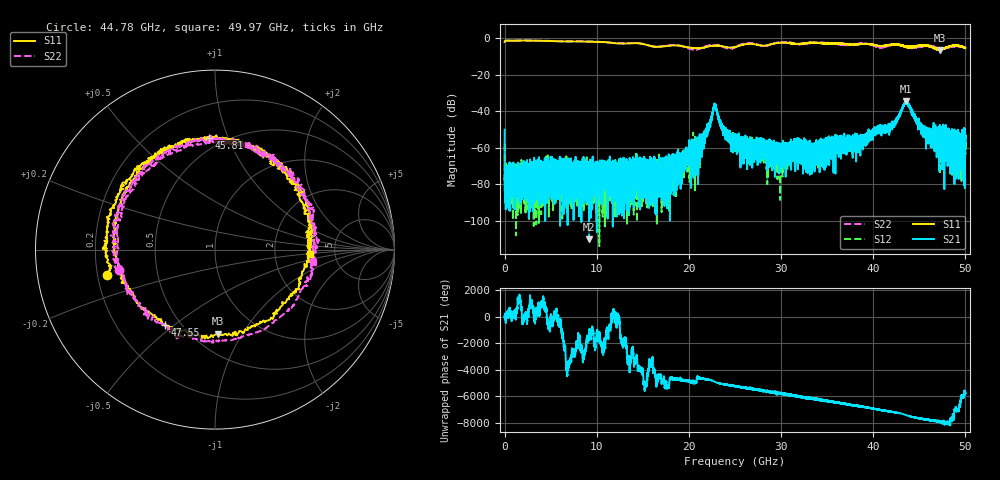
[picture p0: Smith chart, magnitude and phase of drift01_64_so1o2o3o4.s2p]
!Created with skrf (http://scikit-rf.org).
# Hz S RI R 50.0
!freq ReS11 ImS11 ReS21 ImS21 ReS12 ImS12 ReS22 ImS22
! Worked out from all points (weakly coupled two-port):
!   10001 points, 300 kHz to 50 GHz, reference 50 ohm
!   highest |S21| = -34.62 dB at 43.59 GHz (marker M1); lowest = -110.3 dB at 9.16 GHz (marker M2)
!   lowest |S11| = -6.6 dB at 47.28 GHz (marker M3), VSWR 2.77, Z = 32.9 - j39.6 ohm
!   |S11| at or under -10 dB: nowhere
!   |S22| runs from -6.4 to -1.4 dB; largest |S21 - S12| = 0.0046
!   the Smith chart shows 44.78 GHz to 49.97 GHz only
!   S11 on the Smith chart (normalised r, x): 44.78 GHz: 0.24, -0.11; 45.81 GHz: 0.42, +0.86; 47.55 GHz: 0.41, -0.46; 49.97 GHz: 3.23, -0.21
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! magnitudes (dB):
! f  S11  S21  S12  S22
! 300 kHz  -2.2  -50.2  -57.8  -2.1
! 260.3 MHz  -1.4  -72.1  -83.2  -1.4
! 8.335 GHz  -1.9  -100.9  -74.6  -1.8
! 9.16 GHz  -2.0  -110.3  -70.4  -1.9
! 16.67 GHz  -4.8  -77.2  -78.6  -4.8
! 20.8 GHz  -5.7  -57.0  -58.8  -6.3
! 21.96 GHz  -4.8  -48.2  -51.7  -4.4
! 22.81 GHz  -4.3  -36.7  -36.2  -4.0
! 23.74 GHz  -4.6  -52.1  -51.4  -5.0
! 25 GHz  -5.0  -53.2  -55.9  -5.1
! 29.78 GHz  -2.7  -68.2  -67.8  -2.4
! 31.37 GHz  -3.1  -61.5  -60.6  -2.9
! 33.34 GHz  -2.6  -60.0  -59.9  -2.7
! 41.67 GHz  -3.9  -47.5  -49.2  -4.1
! 43.59 GHz  -4.9  -34.6  -35.2  -4.8
! 44.78 GHz  -4.2  -45.4  -45.7  -5.2
! 45.81 GHz  -4.1  -50.7  -52.1  -4.3
! 47.28 GHz  -6.6  -56.8  -57.3  -5.8
! 47.55 GHz  -6.0  -54.2  -48.9  -5.4
! 48.75 GHz  -4.1  -62.5  -56.8  -4.6
! 49.97 GHz  -5.5  -60.4  -50.7  -5.2
! 50 GHz  -5.6  -53.5  -64.0  -5.3
